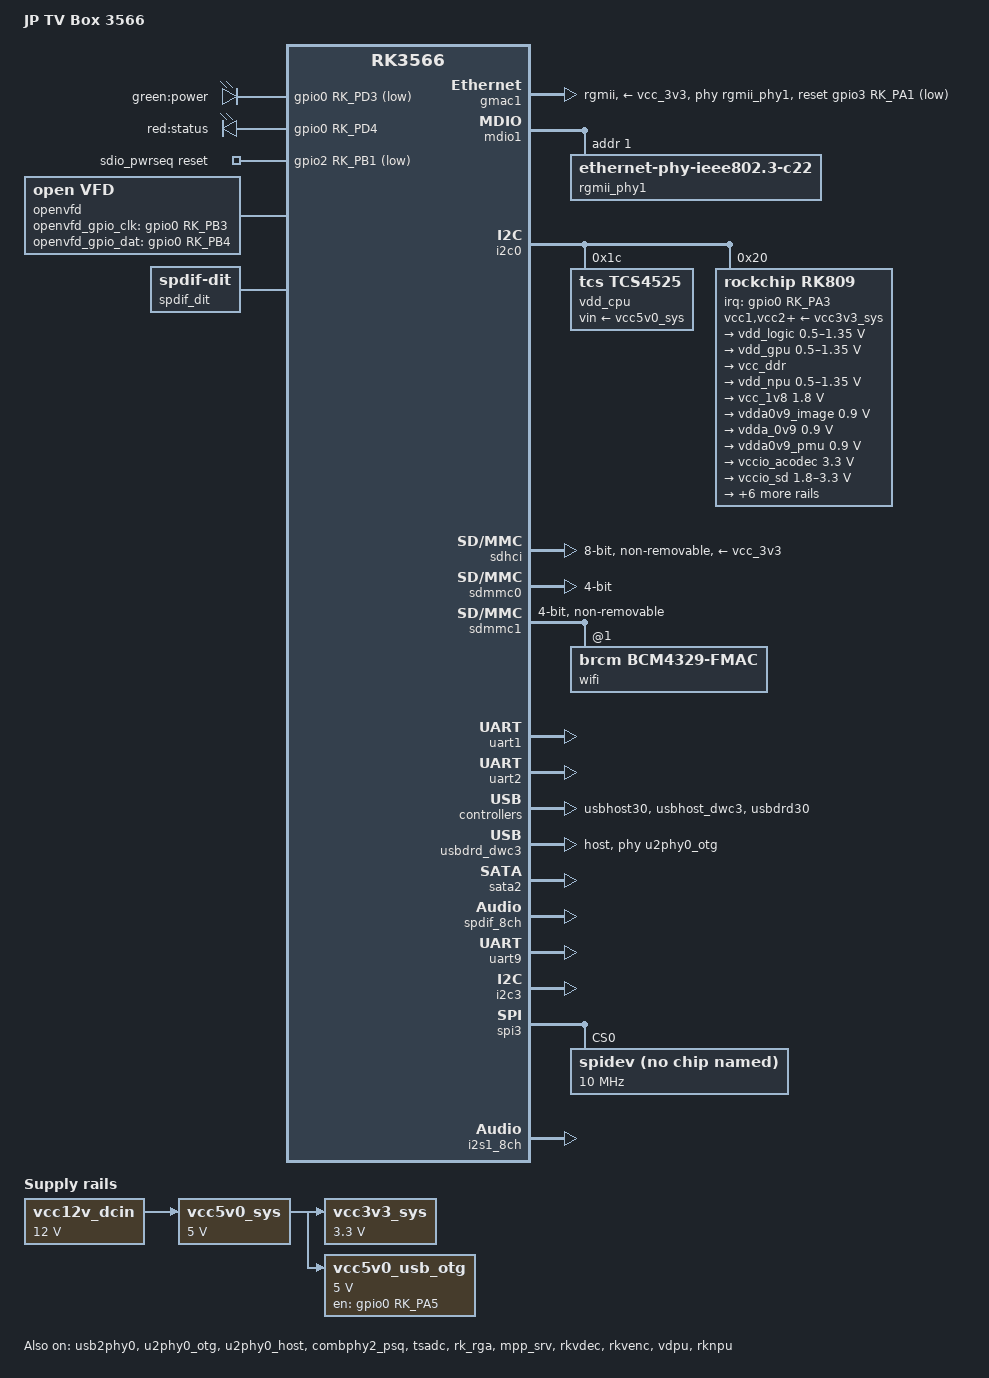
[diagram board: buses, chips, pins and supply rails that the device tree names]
// SPDX-License-Identifier: (GPL-2.0+ OR MIT)
/*
 * JP TV Box 3566 (Rockchip RK3566)
 *
 * Board wiring was taken from the RK3566 vendor device tree that ships as
 * rk3566-jp-tvbox.dtb in ophub/amlogic-s9xxx-armbian
 * (build-armbian/armbian-files/platform-files/rockchip/bootfs/dtb/rockchip/),
 * decompiled and cross-checked against the vendor firmware's own boot
 * environment (armbianEnv.txt: fdtfile=rk3566-jp-tvbox.dtb, console on
 * ttyS2 at 1500000, root=/dev/mmcblk0p2).
 *
 * The description itself is written against the Rockchip 5.10 BSP SoC
 * bindings, because that is the source of the drivers backported into this
 * 5.4 kernel (vendor clock IDs, pinctrl group names, RK3568 GRF offsets).
 *
 * What this box has that the Panther X2 does not:
 *   - no SD card slot at all (the vendor tree leaves sdmmc0 disabled and the
 *     eMMC is mmc0, i.e. /dev/mmcblk0), so eMMC is the only boot medium,
 *   - SDIO wifi (brcm,bcm4329-fmac) plus UART bluetooth, both on the same
 *     module, powered from an out-of-band reset line,
 *   - one front panel LED, and the RGMII PHY answered on MDIO address 1.
 */

/dts-v1/;

#include <dt-bindings/gpio/gpio.h>
#include <dt-bindings/pinctrl/rockchip.h>
#include <dt-bindings/interrupt-controller/arm-gic.h>

#include "rk3566.dtsi"

/ {
	model = "JP TV Box 3566";
	compatible = "jp-tvbox,rk3566", "rockchip,rk3566";

	aliases {
		/*
		 * Vendor mapping: the eMMC (sdhci) is the first MMC device and
		 * therefore /dev/mmcblk0, exactly as the vendor firmware's
		 * root=/dev/mmcblk0p2 expects.  The SDIO wifi follows as
		 * mmc1 - there is no SD slot, so sdmmc0 gets no alias at all.
		 */
		mmc0 = &sdhci;
		mmc1 = &sdmmc0;
		mmc2 = &sdmmc1;
		/delete-property/ mmc3;

		serial2 = &uart2;
		/* uart9 (reserved header) would otherwise register as ttyS0 */
		serial9 = &uart9;

		/*
		 * gmac1 keeps the "ethernet1" alias: the dwmac-rk glue
		 * derives its bus id from it and uses that to select the
		 * RK3568_GRF_GMAC1_* register set over the GMAC0 one.
		 */
		/delete-property/ ethernet0;
		/delete-property/ ethernet1;
		ethernet1 = &gmac1;

		led-boot = &led_green;
		led-failsafe = &led_green;
		led-running = &led_green;
		led-upgrade = &led_green;
	};

	chosen {
		stdout-path = "serial2:1500000n8";
	};

	/*
	 * Both front panel LEDs, taken from the stock firmware's own device
	 * tree (/proc/device-tree/leds on the running Android): green is
	 * gpio0 RK_PD3 and active low, red is gpio0 RK_PD4 and active high.
	 * The stock names are "power-green" / "power-red".
	 */
	leds {
		compatible = "gpio-leds";
		pinctrl-names = "default";
		pinctrl-0 = <&led_green_en>, <&led_red_en>;

		led_green: green {
			label = "green:power";
			gpios = <&gpio0 RK_PD3 GPIO_ACTIVE_LOW>;
			default-state = "on";
		};

		led_red: red {
			label = "red:status";
			gpios = <&gpio0 RK_PD4 GPIO_ACTIVE_HIGH>;
			linux,default-trigger = "heartbeat";
		};
	};

	vcc12v_dcin: vcc12v-dcin {
		compatible = "regulator-fixed";
		regulator-name = "vcc12v_dcin";
		regulator-always-on;
		regulator-boot-on;
		regulator-min-microvolt = <12000000>;
		regulator-max-microvolt = <12000000>;
	};

	vcc5v0_sys: vcc5v0-sys-regulator {
		compatible = "regulator-fixed";
		regulator-name = "vcc5v0_sys";
		regulator-always-on;
		regulator-boot-on;
		regulator-min-microvolt = <5000000>;
		regulator-max-microvolt = <5000000>;
		vin-supply = <&vcc12v_dcin>;
	};

	vcc3v3_sys: vcc3v3-sys-regulator {
		compatible = "regulator-fixed";
		regulator-name = "vcc3v3_sys";
		regulator-always-on;
		regulator-boot-on;
		regulator-min-microvolt = <3300000>;
		regulator-max-microvolt = <3300000>;
		vin-supply = <&vcc5v0_sys>;
	};

	vcc5v0_usb_otg: vcc5v0-usb-otg {
		compatible = "regulator-fixed";
		regulator-name = "vcc5v0_usb_otg";
		regulator-always-on;
		regulator-boot-on;
		regulator-min-microvolt = <5000000>;
		regulator-max-microvolt = <5000000>;
		enable-active-high;
		gpio = <&gpio0 RK_PA5 GPIO_ACTIVE_HIGH>;
		pinctrl-names = "default";
		pinctrl-0 = <&vcc5v0_usb_otg_en>;
		vin-supply = <&vcc5v0_sys>;
	};

	sdio_pwrseq: sdio-pwrseq {
		compatible = "mmc-pwrseq-simple";
		clocks = <&rk809 1>;
		clock-names = "ext_clock";
		pinctrl-names = "default";
		pinctrl-0 = <&wifi_enable_h>;
		reset-gpios = <&gpio2 RK_PB1 GPIO_ACTIVE_LOW>;
		post-power-on-delay-ms = <100>;
	};

	/*
	 * Small front panel display that shows the clock.  The stock firmware
	 * calls the node "fddis_dev" (driver "digital_dis") and drives it with
	 * two GPIOs, which read back from /proc/device-tree on the running box
	 * as gpio0 RK_PB3 (clk) and gpio0 RK_PB4 (dat).  The OpenVFD driver
	 * (kmod-openvfd) + the "openvfd" daemon replace that vendor driver.
	 */
	openvfd {
		compatible = "open,vfd";
		dev_name = "openvfd";
		status = "okay";
		/* the driver looks these up by name, see openvfd_drv.h */
		openvfd_gpio_clk = <&gpio0 RK_PB3 GPIO_ACTIVE_HIGH>;
		openvfd_gpio_dat = <&gpio0 RK_PB4 GPIO_ACTIVE_HIGH>;
		/*
		 * Packed vfd_display { type, reserved, flags, controller } as one
		 * little-endian cell: type=5 (DISPLAY_TYPE_4D_7S_COL),
		 * flags=0, controller=6 (CONTROLLER_FD6551).
		 *
		 * The panel chip is an FD6551 on PB3/PB4 (two-wire); the driver's
		 * default controller is FD628 (three-wire, needs an STB line this
		 * board does not have), which only ever ends in the dummy
		 * controller.  Setting the type here makes the driver initialise
		 * FD6551 at probe time; the runtime "-dt" ioctl does not take
		 * effect on this tree.
		 */
		openvfd_display_type = <0x06000005>;
		/*
		 * Register order, measured on the panel one register at a time
		 * (0xFF to a single grid): 0x68=digit4, 0x6A=digit3, 0x6C=digit2,
		 * 0x6E=digit1, 0x66=icons.
		 *
		 * The driver's data cells are NOT four digits: seg7_write_display_data
		 * fills raw_wdata[0] with the colon/dot flags and raw_wdata[1..4] with
		 * the four digits, and fd650_write_data then stores cell i at
		 * wbuf[dat_index[i]] (= register 0x66 + 2*slot).  So the flags cell has
		 * to land on the icon register and the digits one slot lower:
		 *   cell0 (flags)  -> slot 0 -> 0x66
		 *   cell1 (digit1) -> slot 4 -> 0x6E
		 *   cell2 (digit2) -> slot 3 -> 0x6C
		 *   cell3 (digit3) -> slot 2 -> 0x6A
		 *   cell4 (digit4) -> slot 1 -> 0x68
		 * Getting this wrong shifts every digit by one and writes the icon
		 * mask into a digit register (or a digit into the icon register, which
		 * lights random icons).  Read as a raw byte array, hence [..].
		 */
		openvfd_chars = [00 04 03 02 01];
		/*
		 * Icon bits, in LED_DOT order (ALARM, USB, PLAY, PAUSE, SEC, ETH,
		 * WIFI).  Measured on the panel: the colon sits on bit 4 of the
		 * icon register 0x66 (0x10).  The remaining icons are left at 0
		 * until their bits are identified.
		 */
		openvfd_dot_bits = [01 02 08 04 10 20 80];
	};
};

/*
 * Same two problems with the vendor CPU OPP table as on the Panther X2, for
 * the same reason (this SoC dtsi is shared): every OPP carries
 * opp-supported-hw, which _opp_is_supported() rejects because platform code
 * never calls dev_pm_opp_set_supported_hw(), and the bin variants repeat the
 * base frequencies with different voltages so -EEXIST rolls back the whole
 * table.  Redeclare the base table only, keeping the vendor voltages and
 * latencies.
 */
&cpu0_opp_table {
	/delete-node/ opp-408000000;
	/delete-node/ opp-600000000;
	/delete-node/ opp-816000000;
	/delete-node/ opp-1104000000;
	/delete-node/ opp-1416000000;
	/delete-node/ opp-1608000000;
	/delete-node/ opp-1800000000;
	/delete-node/ opp-j-1008000000;
	/delete-node/ opp-j-1416000000;
	/delete-node/ opp-j-od-1608000000;
	/delete-node/ opp-j-od-1800000000;
	/delete-node/ opp-m-1608000000;

	opp-408000000 {
		opp-hz = /bits/ 64 <408000000>;
		opp-microvolt = <850000 850000 1150000>;
		clock-latency-ns = <40000>;
	};

	opp-600000000 {
		opp-hz = /bits/ 64 <600000000>;
		opp-microvolt = <850000 850000 1150000>;
		clock-latency-ns = <40000>;
	};

	opp-816000000 {
		opp-hz = /bits/ 64 <816000000>;
		opp-microvolt = <850000 850000 1150000>;
		clock-latency-ns = <40000>;
		opp-suspend;
	};

	opp-1104000000 {
		opp-hz = /bits/ 64 <1104000000>;
		opp-microvolt = <900000 900000 1150000>;
		clock-latency-ns = <40000>;
	};

	opp-1416000000 {
		opp-hz = /bits/ 64 <1416000000>;
		opp-microvolt = <1025000 1025000 1150000>;
		clock-latency-ns = <40000>;
	};

	opp-1608000000 {
		opp-hz = /bits/ 64 <1608000000>;
		opp-microvolt = <1100000 1100000 1150000>;
		clock-latency-ns = <40000>;
	};

	opp-1800000000 {
		opp-hz = /bits/ 64 <1800000000>;
		opp-microvolt = <1150000 1150000 1150000>;
		clock-latency-ns = <40000>;
	};
};

/*
 * The vendor dtsi wires the CPU clocks to SCMI (<&scmi_clk 0>), which this
 * kernel has no driver for, so clk_get() on cpu0 would defer forever and
 * cpufreq-dt could never probe.  Point them at the CRU's armclk instead,
 * which clk-rk3568.c registers with the full rk3568_cpuclk_rates table.
 */
&cpu0 {
	cpu-supply = <&vdd_cpu>;
	clocks = <&cru ARMCLK>;
};

&cpu1 {
	cpu-supply = <&vdd_cpu>;
	clocks = <&cru ARMCLK>;
};

&cpu2 {
	cpu-supply = <&vdd_cpu>;
	clocks = <&cru ARMCLK>;
};

&cpu3 {
	cpu-supply = <&vdd_cpu>;
	clocks = <&cru ARMCLK>;
};

&gmac1 {
	/*
	 * Vendor firmware combination: RGMII with both delays applied by the
	 * SoC (phy-mode "rgmii" keeps the PHY's own delay programming out of
	 * the picture), 125 MHz clock fed in from the board, PHY on MDIO
	 * address 1 behind gpio3 RK_PA1 as reset.
	 */
	phy-mode = "rgmii";
	clock_in_out = "input";
	assigned-clocks = <&cru SCLK_GMAC1_RX_TX>, <&cru SCLK_GMAC1_RGMII_SPEED>, <&cru SCLK_GMAC1>;
	assigned-clock-parents = <&cru SCLK_GMAC1_RGMII_SPEED>, <&cru SCLK_GMAC1>, <&gmac1_clkin>;
	phy-supply = <&vcc_3v3>;
	pinctrl-names = "default";
	pinctrl-0 = <&gmac1m0_miim
		     &gmac1m0_tx_bus2
		     &gmac1m0_rx_bus2
		     &gmac1m0_rgmii_clk
		     &gmac1m0_clkinout
		     &gmac1m0_rgmii_bus>;
	snps,reset-gpio = <&gpio3 RK_PA1 GPIO_ACTIVE_LOW>;
	snps,reset-active-low;
	snps,reset-delays-us = <0 20000 100000>;
	tx_delay = <0x3f>;
	rx_delay = <0x3f>;
	phy-handle = <&rgmii_phy1>;
	status = "okay";
};

&mdio1 {
	rgmii_phy1: ethernet-phy@1 {
		compatible = "ethernet-phy-ieee802.3-c22";
		reg = <1>;
	};
};

&i2c0 {
	status = "okay";

	/* fan53555-compatible buck feeding the CPU cluster (armclk) */
	vdd_cpu: regulator@1c {
		compatible = "tcs,tcs4525";
		reg = <0x1c>;
		fcs,suspend-voltage-selector = <1>;
		regulator-name = "vdd_cpu";
		regulator-min-microvolt = <800000>;
		regulator-max-microvolt = <1150000>;
		regulator-ramp-delay = <2300>;
		regulator-always-on;
		regulator-boot-on;
		vin-supply = <&vcc5v0_sys>;

		regulator-state-mem {
			regulator-off-in-suspend;
		};
	};

	rk809: pmic@20 {
		compatible = "rockchip,rk809";
		reg = <0x20>;
		interrupt-parent = <&gpio0>;
		interrupts = <RK_PA3 IRQ_TYPE_LEVEL_LOW>;
		#clock-cells = <1>;
		clock-output-names = "rk808-clkout1", "rk808-clkout2";
		pinctrl-names = "default";
		pinctrl-0 = <&pmic_int_l>;
		rockchip,system-power-controller;
		wakeup-source;

		vcc1-supply = <&vcc3v3_sys>;
		vcc2-supply = <&vcc3v3_sys>;
		vcc3-supply = <&vcc3v3_sys>;
		vcc4-supply = <&vcc3v3_sys>;
		vcc5-supply = <&vcc3v3_sys>;
		vcc6-supply = <&vcc3v3_sys>;
		vcc7-supply = <&vcc3v3_sys>;
		vcc8-supply = <&vcc3v3_sys>;
		vcc9-supply = <&vcc3v3_sys>;

		regulators {
			vdd_logic: DCDC_REG1 {
				regulator-name = "vdd_logic";
				regulator-always-on;
				regulator-boot-on;
				regulator-min-microvolt = <500000>;
				regulator-max-microvolt = <1350000>;
				regulator-init-microvolt = <900000>;
				regulator-ramp-delay = <6001>;
				regulator-initial-mode = <0x2>;

				regulator-state-mem {
					regulator-on-in-suspend;
					regulator-suspend-microvolt = <900000>;
				};
			};

			vdd_gpu: DCDC_REG2 {
				regulator-name = "vdd_gpu";
				regulator-always-on;
				regulator-boot-on;
				regulator-min-microvolt = <500000>;
				regulator-max-microvolt = <1350000>;
				regulator-init-microvolt = <900000>;
				regulator-ramp-delay = <6001>;
				regulator-initial-mode = <0x2>;

				regulator-state-mem {
					regulator-off-in-suspend;
				};
			};

			vcc_ddr: DCDC_REG3 {
				regulator-name = "vcc_ddr";
				regulator-always-on;
				regulator-boot-on;
				regulator-initial-mode = <0x2>;

				regulator-state-mem {
					regulator-on-in-suspend;
				};
			};

			vdd_npu: DCDC_REG4 {
				regulator-name = "vdd_npu";
				regulator-always-on;
				regulator-boot-on;
				regulator-min-microvolt = <500000>;
				regulator-max-microvolt = <1350000>;
				regulator-init-microvolt = <900000>;
				regulator-initial-mode = <0x2>;

				regulator-state-mem {
					regulator-off-in-suspend;
				};
			};

			vcc_1v8: DCDC_REG5 {
				regulator-name = "vcc_1v8";
				regulator-always-on;
				regulator-boot-on;
				regulator-min-microvolt = <1800000>;
				regulator-max-microvolt = <1800000>;

				regulator-state-mem {
					regulator-on-in-suspend;
					regulator-suspend-microvolt = <1800000>;
				};
			};

			vdda0v9_image: LDO_REG1 {
				regulator-name = "vdda0v9_image";
				regulator-always-on;
				regulator-boot-on;
				regulator-min-microvolt = <900000>;
				regulator-max-microvolt = <900000>;

				regulator-state-mem {
					regulator-on-in-suspend;
					regulator-suspend-microvolt = <900000>;
				};
			};

			vdda_0v9: LDO_REG2 {
				regulator-name = "vdda_0v9";
				regulator-always-on;
				regulator-boot-on;
				regulator-min-microvolt = <900000>;
				regulator-max-microvolt = <900000>;

				regulator-state-mem {
					regulator-off-in-suspend;
				};
			};

			vdda0v9_pmu: LDO_REG3 {
				regulator-name = "vdda0v9_pmu";
				regulator-always-on;
				regulator-boot-on;
				regulator-min-microvolt = <900000>;
				regulator-max-microvolt = <900000>;

				regulator-state-mem {
					regulator-on-in-suspend;
					regulator-suspend-microvolt = <900000>;
				};
			};

			vccio_acodec: LDO_REG4 {
				regulator-name = "vccio_acodec";
				regulator-always-on;
				regulator-boot-on;
				regulator-min-microvolt = <3300000>;
				regulator-max-microvolt = <3300000>;

				regulator-state-mem {
					regulator-off-in-suspend;
				};
			};

			vccio_sd: LDO_REG5 {
				regulator-name = "vccio_sd";
				regulator-always-on;
				regulator-boot-on;
				regulator-min-microvolt = <1800000>;
				regulator-max-microvolt = <3300000>;

				regulator-state-mem {
					regulator-off-in-suspend;
				};
			};

			vcc3v3_pmu: LDO_REG6 {
				regulator-name = "vcc3v3_pmu";
				regulator-always-on;
				regulator-boot-on;
				regulator-min-microvolt = <3300000>;
				regulator-max-microvolt = <3300000>;

				regulator-state-mem {
					regulator-on-in-suspend;
					regulator-suspend-microvolt = <3300000>;
				};
			};

			vcca_1v8: LDO_REG7 {
				regulator-name = "vcca_1v8";
				regulator-always-on;
				regulator-boot-on;
				regulator-min-microvolt = <1800000>;
				regulator-max-microvolt = <1800000>;

				regulator-state-mem {
					regulator-off-in-suspend;
				};
			};

			vcca1v8_pmu: LDO_REG8 {
				regulator-name = "vcca1v8_pmu";
				regulator-always-on;
				regulator-boot-on;
				regulator-min-microvolt = <1800000>;
				regulator-max-microvolt = <1800000>;

				regulator-state-mem {
					regulator-off-in-suspend;
				};
			};

			vcca1v8_image: LDO_REG9 {
				regulator-name = "vcca1v8_image";
				regulator-always-on;
				regulator-boot-on;
				regulator-min-microvolt = <1800000>;
				regulator-max-microvolt = <1800000>;

				regulator-state-mem {
					regulator-off-in-suspend;
				};
			};

			vcc_3v3: SWITCH_REG1 {
				regulator-name = "vcc_3v3";
				regulator-always-on;
				regulator-boot-on;

				regulator-state-mem {
					regulator-off-in-suspend;
				};
			};

			vcc3v3_sd: SWITCH_REG2 {
				/* no SD slot on this board */
				regulator-name = "vcc3v3_sd";
				status = "disabled";

				regulator-state-mem {
					regulator-on-in-suspend;
				};
			};
		};
	};
};

&pinctrl {
	sdio-pwrseq {
		wifi_enable_h: wifi-enable-h {
			rockchip,pins = <2 RK_PB1 RK_FUNC_GPIO &pcfg_pull_none>;
		};
	};

	wireless-wlan {
		wifi_host_wake_irq: wifi-host-wake-irq {
			rockchip,pins = <2 RK_PB2 RK_FUNC_GPIO &pcfg_pull_down>;
		};
	};

	leds {
		led_green_en: led-green-enable-h {
			rockchip,pins = <0 RK_PD3 RK_FUNC_GPIO &pcfg_pull_none>;
		};

		led_red_en: led-red-enable-h {
			rockchip,pins = <0 RK_PD4 RK_FUNC_GPIO &pcfg_pull_none>;
		};
	};

	usb {
		vcc5v0_usb_otg_en: vcc5v0-usb-otg-en {
			rockchip,pins = <0 RK_PA5 RK_FUNC_GPIO &pcfg_pull_none>;
		};
	};

	pmic {
		pmic_int_l: pmic-int-l {
			rockchip,pins = <0 RK_PA3 RK_FUNC_GPIO &pcfg_pull_up>;
		};
	};

	bt {
		bt_enable_h: bt-enable-h {
			rockchip,pins = <2 RK_PB7 RK_FUNC_GPIO &pcfg_pull_none>;
		};

		bt_host_wake_l: bt-host-wake-l {
			rockchip,pins = <2 RK_PC0 RK_FUNC_GPIO &pcfg_pull_none>;
		};

		bt_wake_l: bt-wake-l {
			rockchip,pins = <2 RK_PC1 RK_FUNC_GPIO &pcfg_pull_none>;
		};
	};
};

/*
 * Supply split copied from the vendor tree, which differs from the Panther X2:
 * vccio1 is the acodec rail and vccio6 is 1.8 V here, and the vendor tree does
 * not describe vccio2 at all.
 */
&pmu_io_domains {
	status = "okay";
	pmuio1-supply = <&vcc3v3_pmu>;
	pmuio2-supply = <&vcc3v3_pmu>;
	vccio1-supply = <&vccio_acodec>;
	vccio3-supply = <&vccio_sd>;
	vccio4-supply = <&vcc_1v8>;
	vccio5-supply = <&vcc_3v3>;
	vccio6-supply = <&vcc_1v8>;
	vccio7-supply = <&vcc_3v3>;
};

/* eMMC: 8 bit, HS200, and the only boot medium (mmc0 -> /dev/mmcblk0). */
&sdhci {
	bus-width = <8>;
	no-sd;
	no-sdio;
	non-removable;
	mmc-hs200-1_8v;
	vmmc-supply = <&vcc_3v3>;
	vqmmc-supply = <&vcc_1v8>;
	status = "okay";
};

/*
 * microSD slot on sdmmc0.  The stock firmware's device tree keeps this
 * controller enabled ("okay"), so it is described here as well; the card
 * detect line is not wired up in the vendor tree, hence broken-cd (polling).
 */
&sdmmc0 {
	broken-cd;
	bus-width = <4>;
	cap-sd-highspeed;
	disable-wp;
	pinctrl-names = "default";
	pinctrl-0 = <&sdmmc0_bus4 &sdmmc0_clk &sdmmc0_cmd>;
	vqmmc-supply = <&vccio_sd>;
	status = "okay";
};

/* SDIO wifi on sdmmc1 (non-removable, powered through sdio_pwrseq). */
&sdmmc1 {
	bus-width = <4>;
	/*
	 * Matched to the vendor tree: the wifi half of the AP6335 combo only
	 * attaches when the host advertises SDIO support and the UHS modes it
	 * actually negotiates (SDR104 at 148.5 MHz).  Without "supports-sdio"
	 * the SDPCM control channel times out after the firmware download
	 * ("dongle is not responding: err=-110").
	 */
	supports-sdio;
	cap-sd-highspeed;
	/*
	 * 25 MHz, not the vendor's 200 MHz.  At 200 MHz the host negotiates
	 * high-speed (50 MHz) and brcmfmac's control transfers then fail (-52
	 * on event_msgs, -84 on cur_etheraddr) even though the bulk firmware
	 * download itself goes through.  At 25 MHz wlan0 comes up.  The UHS
	 * modes are not advertised either: sd-uhs-sdr104 makes the dw_mmc
	 * tuning loop give up with "All phases bad!" on this board.
	 */
	max-frequency = <25000000>;
	cap-sdio-irq;
	keep-power-in-suspend;
	disable-wp;
	non-removable;
	mmc-pwrseq = <&sdio_pwrseq>;
	rockchip,default-sample-phase = <90>;
	pinctrl-names = "default";
	pinctrl-0 = <&sdmmc1_bus4 &sdmmc1_clk &sdmmc1_cmd>;
	#address-cells = <1>;
	#size-cells = <0>;
	status = "okay";

	wifi@1 {
		compatible = "brcm,bcm4329-fmac";
		reg = <1>;
		/*
		 * BCM4339 (AP6335 combo, the BT half reports itself as BCM4335).
		 * brcmfmac takes the board type from the machine compatible, so
		 * the nvram has to be installed as
		 * brcmfmac4339-sdio.jp-tvbox,rk3566.txt.
		 */
		/*
		 * Deliberately no OOB interrupt here.  With interrupt-parent =
		 * &gpio2 / interrupts = <RK_PB2 ...> brcmfmac registered no IRQ
		 * at all (nothing shows up in /proc/interrupts) and then timed
		 * out waiting for the SDPCM control response after downloading
		 * the firmware ("dongle is not responding: err=-110").  Without
		 * the interrupt the driver uses the in-band SDIO interrupt path,
		 * which cap-sdio-irq above supports.
		 */
		pinctrl-names = "default";
		pinctrl-0 = <&wifi_host_wake_irq>;
	};
};

&uart1 {
	pinctrl-names = "default";
	pinctrl-0 = <&uart1m0_xfer &uart1m0_ctsn &uart1m0_rtsn>;
	status = "okay";

	/*
	 * The BT half of the AP6335 combo is a BCM4335, and the stock firmware
	 * ships no BCM4335C0.hcd and disables BT outright
	 * (config.disable_bluetooth=true).  Keep the node out of the way until
	 * a matching HCD is available, otherwise every boot logs a failing
	 * firmware request.
	 */
	bluetooth {
		compatible = "brcm,bcm43438-bt";
		status = "disabled";
		clocks = <&rk809 1>;
		clock-names = "lpo";
		device-wakeup-gpios = <&gpio2 RK_PC1 GPIO_ACTIVE_HIGH>;
		host-wakeup-gpios = <&gpio2 RK_PC0 GPIO_ACTIVE_HIGH>;
		shutdown-gpios = <&gpio2 RK_PB7 GPIO_ACTIVE_HIGH>;
		max-speed = <1500000>;
		pinctrl-names = "default";
		pinctrl-0 = <&bt_host_wake_l &bt_wake_l &bt_enable_h>;
		vbat-supply = <&vcc3v3_sys>;
		vddio-supply = <&vcca1v8_pmu>;
	};
};

&uart2 {
	status = "okay";
};

/*
 * USB: the vendor tree enables only PHY0 (both its ports) plus the two XHCI
 * controllers behind it, and leaves PHY1 as well as all EHCI/OHCI controllers
 * disabled.  This kernel's phy-rockchip-inno-usb2 learned RK3568 in
 * patches-5.4/313.
 */
&usb2phy0 {
	status = "okay";
};

&u2phy0_otg {
	status = "okay";
};

&u2phy0_host {
	status = "okay";
};

&usbhost30 {
	status = "okay";
};

/* combphy1 (usb3 pipe phy) and its GRF must be up for usbhost30 to bind */
&{/syscon@fdc80000} {
	status = "okay";
};

&{/phy@fe830000} {
	status = "okay";
};

&usbhost_dwc3 {
	/*
	 * Keep the dtsi's power-domains = <&power RK3568_PD_PIPE>.  PD_PIPE is
	 * enabled here (the SATA controller lives in it), so both DWC3 cores
	 * have to reference it as well - without the link nothing powers the
	 * pipe domain before the first register access and the xHCI port
	 * status read faults with a synchronous external abort.
	 */
	status = "okay";
};

&usbdrd30 {
	status = "okay";
};

&usbdrd_dwc3 {
	dr_mode = "host";
	snps,dis_u2_susphy_quirk;
	maximum-speed = "high-speed";
	quirk-skip-phy-init;
	phys = <&u2phy0_otg>;
	phy-names = "usb2-phy";
	status = "okay";
};

/*
 * SATA: the box exposes one SATA port, wired to the SoC's second AHCI
 * controller (sata2 @ 0xfc800000) through combphy2.  The vendor tree leaves
 * sata1 disabled on purpose: sata1 shares combphy1 with the USB3 host port,
 * and this board needs that PHY in USB3 mode instead.
 *
 * The controller sits in PD_PIPE, which rk3568.dtsi keeps disabled.  Without
 * that domain the genpd lookup fails (-ENODEV) and the AHCI driver never
 * probes, so it has to be enabled here.  PD_PIPE only gates the pipe
 * interface shared by the SATA/PCIe/USB3 PHYs; the two DWC3 cores stay
 * detached from it exactly as validated on the Panther X2, so the only
 * consumer here is the SATA controller.
 */
&sata2 {
	status = "okay";
};

&combphy2_psq {
	status = "okay";
};

&power {
	pd_pipe@RK3568_PD_PIPE {
		status = "okay";
		/*
		 * With a SATA disk attached U-Boot has already brought the combo
		 * PHY and the link up, while the kernel's ATA driver is a module
		 * that only loads from the rootfs.  Nothing claims PD_PIPE at
		 * initcall time, genpd tries to power the domain off, the
		 * power-off handshake never gets its ACK and the CPU spins
		 * forever in rockchip_pmu_set_idle_request(): the board hangs
		 * right after "calling rtc_hctosys" with only an RCU stall on
		 * genpd_power_off_work_fn.  Pin the domain on instead.
		 */
		rockchip,always-on;
	};
};

/*
 * SPDIF: optical output on the spdifm0 pin group (gpio1 RK_PA4).  The SoC
 * transmitter is the CPU DAI, "linux,spdif-dit" is the standard dummy codec,
 * and simple-audio-card ties them together into one ALSA card named "SPDIF"
 * with a single playback PCM.  All three pieces are modules: kmod-rk-spdif,
 * kmod-sound-soc-spdif and kmod-sound-simple-card.
 */
&spdif_8ch {
	status = "okay";
};

&{/} {
	spdif_dit: spdif-dit {
		compatible = "linux,spdif-dit";
		#sound-dai-cells = <0>;
		status = "okay";
	};

	spdif_sound: spdif-sound {
		compatible = "simple-audio-card";
		simple-audio-card,name = "SPDIF";

		simple-audio-card,cpu {
			sound-dai = <&spdif_8ch>;
		};

		simple-audio-card,codec {
			sound-dai = <&spdif_dit>;
		};
	};
};

/*
 * Headers reserved on the PCB.  Pin groups are exactly the ones the stock
 * firmware's device tree uses for these controllers (read back from
 * /proc/device-tree on the running Android), and every pin below was checked
 * against the functions this board already uses:
 *
 *   uart9 (m0)  TX/RX      gpio2_PA7 / gpio2_PB0
 *   spi3  (m0)  CLK/MOSI/MISO/CS0/CS1  gpio4_PB3 / gpio4_PB0 / gpio4_PB2 /
 *               gpio4_PA6 / gpio4_PA7
 *   i2c3  (m0)  SCL/SDA    gpio1_PA1 / gpio1_PA0
 *   i2s1  (m0)  SCLK/LRCK/SDO0/SDI0    gpio1_PA3 / gpio1_PA5 /
 *               gpio1_PA7 / gpio1_PB3
 *
 * Three of the six i2c buses are unusable on this board: i2c1 (gpio0_PB3/PB4)
 * is the front panel display, i2c4 (gpio4_B2/B3) collides with spi3, and i2c5
 * (gpio3_PB3/PB4) collides with gmac1 - the stock kernel itself fails to probe
 * it with "pin gpio3-11 already requested by fe010000.ethernet".  i2c0/i2c2
 * are the PMIC and the camera bus.
 */
/*
 * uart9 m0 (gpio2_PA7 / gpio2_PB0) is impossible on this board: those are
 * exactly sdmmc1's CMD and CLK, i.e. the SDIO wifi data path - the stock
 * firmware keeps uart9 disabled for that reason.  The header is wired to the
 * m1 pins instead: TX gpio4_PC6, RX gpio4_PC5 (spi3 sits on gpio4_PB0/B2/B3,
 * CS0 gpio4_PA6, CS1 gpio4_PA7 - no overlap).
 * If the PCB silkscreen says the uart9 header is on gpio4_PA4/PA5, switch to
 * &uart9m2_xfer here.
 */
&uart9 {
	pinctrl-names = "default";
	pinctrl-0 = <&uart9m1_xfer>;
	status = "okay";
};

&i2c3 {
	status = "okay";
};

&spi3 {
	status = "okay";

	/* the header is a bare pin row: expose it to userspace as spidev */
	spidev@0 {
		compatible = "rohm,dh2228fv";
		reg = <0>;
		spi-max-frequency = <10000000>;
	};
};

/*
 * I2S1 on the reserved header.  The vendor tree drives only the four pins it
 * routed (SCLK_TX, LRCK_TX, SDO0, SDI0) and makes the codec the bit-clock
 * slave (rockchip,clk-trcm = 1), so the pin list is overridden here instead of
 * taking the SoC dtsi default, which also claims SDI1-3/SDO1-3 and would mux
 * pins this board uses elsewhere (gpio1_PA4 is the SPDIF output).
 * MCLK is not routed on this header.
 */
&i2s1_8ch {
	pinctrl-names = "default";
	pinctrl-0 = <&i2s1m0_sclktx &i2s1m0_lrcktx &i2s1m0_sdi0 &i2s1m0_sdo0>;
	rockchip,clk-trcm = <1>;
	status = "okay";
};

&tsadc {
	status = "okay";
};
&rk_rga {
	status = "okay";
};

&mpp_srv {
	status = "okay";
};

&rkvdec {
	status = "okay";
};

&rkvdec_mmu {
	status = "okay";
};

&rkvenc {
	/delete-property/ iommus;
	status = "okay";
};

&vdpu {
	status = "okay";
};

&vdpu_mmu {
	status = "okay";
};

/*
 * NPU: 不开 IOMMU。实测打开后 NPU 作业提交后无人应答（job timeout + soft
 * reset），因为本树没有厂商的 rknpu_iommu.c —— 它需要 Rockchip 在 5.10 给
 * struct iommu_domain 挂 iova 域并自己写 NPU 的地址寄存器，仅靠 DMA 层的
 * IOMMU 映射不够。所以继续删掉 iommus，NPU 走 CMA。
 *
 * CMA 被普通进程抢走的问题改用另一个办法解决：关掉 THP（见 config-5.4 的
 * CONFIG_TRANSPARENT_HUGEPAGE_*）。llama 之类的大块匿名内存一旦变成 2M 大页，
 * arm64 的 5.4 内核无法迁移它们，CMA 申请就会 -EBUSY；用 4K 页时 CMA 可以
 * 正常迁移回收，实测占满 4G 内存后 CmaFree 基本不掉。
 *
 * DVFS 仍然不做（本内核没有 vendor 的 OPP/leakage/pvtpll 框架）。
 */
&rknpu {
	/delete-property/ iommus;
	/delete-property/ operating-points-v2;
	power-domains = <&power RK3568_PD_NPU>;
	clocks = <&cru CLK_NPU>, <&cru ACLK_NPU>, <&cru HCLK_NPU>;
	clock-names = "clk", "aclk", "hclk";
	rknpu-supply = <&vdd_npu>;
	status = "okay";
};
